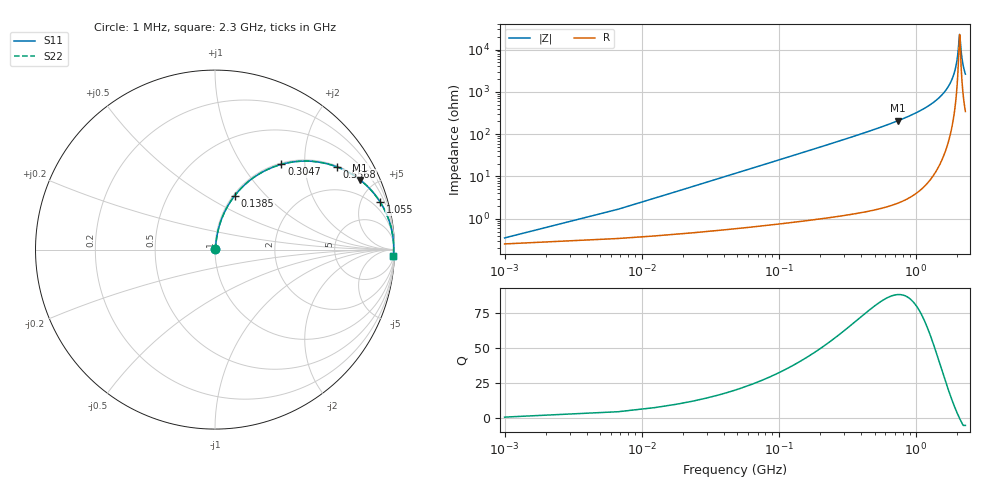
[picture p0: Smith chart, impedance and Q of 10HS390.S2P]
! Coilcraft 1008CS-390 Chip Inductor
! 02 July 2002
# MHZ S MA R 50
!Freq  MagS11  AngS11  MagS21  AngS21  MagS12  AngS12  MagS22  AngS22
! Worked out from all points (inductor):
!   403 points, 1 MHz to 2.3 GHz, reference 50 ohm
!   read as one part in series: L = 39 nH near 12.46 MHz
!   highest Q = 88.5 at 740.2 MHz (marker M1), where L = 44.6 nH
!   self-resonance near 2.087 GHz
!   S11 on the Smith chart (normalised r, x): 1 MHz: 1.01, +0.00; 138.5 MHz: 1.02, +0.68; 304.7 MHz: 1.02, +1.53; 556.8 MHz: 1.04, +2.94; 1.055 GHz: 1.09, +6.95; 2.3 GHz: 8, -52
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1  0.003528 43.7  0.9975 -0.1  0.9975 -0.1  0.003528 43.7
18.19  0.04455 81.9  0.9947 -2.5  0.9947 -2.5  0.04455 81.9
35.38  0.08611 81.6  0.9911 -4.9  0.9911 -4.9  0.08611 81.6
75.49  0.1811 77.5  0.9769 -10.4  0.9769 -10.4  0.1811 77.5
138.52  0.3203 69.9  0.9393 -18.7  0.9393 -18.7  0.3203 69.9
213.01  0.4629 61.3  0.8775 -27.6  0.8775 -27.6  0.4629 61.3
304.69  0.602 52.1  0.789 -37.0  0.789 -37.0  0.602 52.1
384.91  0.6938 45.3  0.7105 -43.9  0.7105 -43.9  0.6938 45.3
556.81  0.8221 34.0  0.5596 -55.3  0.5596 -55.3  0.8221 34.0
740.17  0.8969 25.6  0.4323 -63.7  0.4323 -63.7  0.8969 25.6
768.82  0.905 24.5  0.4152 -64.8  0.4152 -64.8  0.905 24.5
1055.32  0.9577 16.0  0.2757 -73.3  0.2757 -73.3  0.9577 16.0
1152.73  0.9678 13.8  0.2382 -75.4  0.2382 -75.4  0.9678 13.8
1536.64  0.9893 6.9  0.1205 -81.5  0.1205 -81.5  0.9893 6.9
1765.84  0.9942 3.8  0.06553 -83.0  0.06553 -83.0  0.9942 3.8
1920.55  0.9955 1.9  0.03282 -81.2  0.03282 -81.2  0.9955 1.9
2006.5  0.9957 0.9  0.01607 -74.0  0.01607 -74.0  0.9957 0.9
2086.72  0.9956 0.0  0.004383 -3.4  0.004383 -3.4  0.9956 0.0
2098.18  0.9956 -0.1  0.004785 22.9  0.004785 22.9  0.9956 -0.1
2144.02  0.9954 -0.6  0.01123 65.6  0.01123 65.6  0.9954 -0.6
2184.13  0.9952 -1.0  0.01809 74.1  0.01809 74.1  0.9952 -1.0
2300  0.9943 -2.2  0.03793 80.3  0.03793 80.3  0.9943 -2.2
